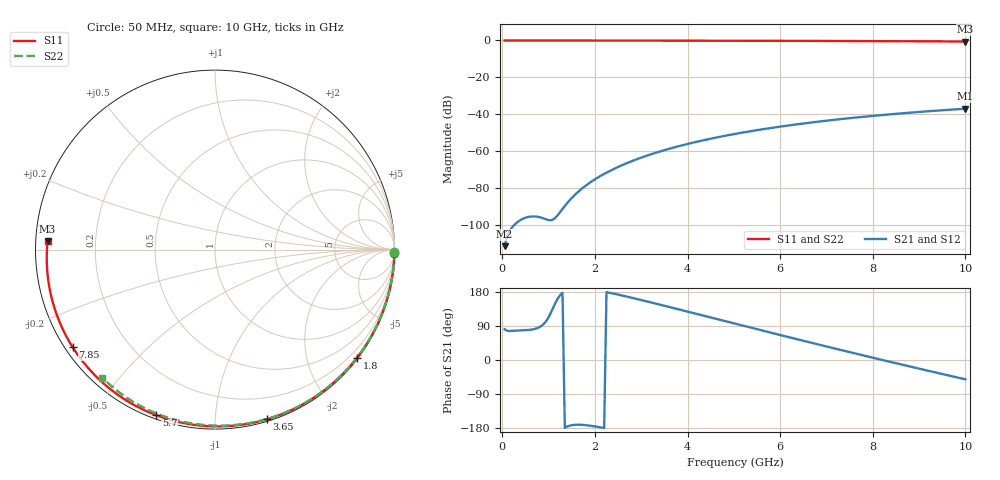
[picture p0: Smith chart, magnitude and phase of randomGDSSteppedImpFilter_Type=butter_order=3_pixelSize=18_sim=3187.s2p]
! freq	dB(S11)	phase(S11)	dB(S12)	phase(S12)
!  dB(S21)	phase(S21)	dB(S22)	phase(S22)
!S-par simulation data
#  GHz  S  DB  R 50
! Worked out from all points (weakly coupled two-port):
!   200 points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, 50 MHz to 10 GHz, reference 50 ohm
!   highest |S21| = -37.03 dB at 10 GHz (marker M1); lowest = -111.6 dB at 50 MHz (marker M2)
!   lowest |S11| = -0.6 dB at 10 GHz (marker M3), VSWR 29.30, Z = 1.71 + j1.26 ohm
!   |S11| at or under -10 dB: nowhere
!   |S22| runs from -0.4 to 0.0 dB; largest |S21 - S12| = 0
!   S11 on the Smith chart (normalised r, x): 50 MHz: open; 1.8 GHz: 0.03, -2.97; 3.65 GHz: 0.02, -1.35; 5.7 GHz: 0.02, -0.71; 7.85 GHz: 0.02, -0.31; 10 GHz: 0.03, +0.03
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0.05  -0.00 -1.1  -111.62 81.3  -111.62 81.3  -0.00 -0.8
0.45  -0.01 -9.5  -96.68 78.2  -96.68 78.2  -0.01 -6.8
0.85  -0.02 -17.8  -96.22 90.5  -96.22 90.5  -0.02 -12.8
1.25  -0.03 -26.0  -93.08 171.1  -93.08 171.1  -0.02 -18.8
1.7  -0.04 -35.2  -80.78 -171.0  -80.78 -171.0  -0.03 -25.5
1.75  -0.05 -36.2  -79.77 -171.4  -79.77 -171.4  -0.03 -26.2
1.8  -0.05 -37.2  -78.80 -171.9  -78.80 -171.9  -0.03 -26.9
2.1  -0.06 -43.2  -73.82 -177.3  -73.82 -177.3  -0.04 -31.3
2.5  -0.07 -51.1  -68.63 172.6  -68.63 172.6  -0.05 -37.1
2.9  -0.08 -58.9  -64.49 161.2  -64.49 161.2  -0.06 -42.8
3.4  -0.09 -68.4  -60.27 146.2  -60.27 146.2  -0.07 -49.9
3.65  -0.10 -73.1  -58.45 138.5  -58.45 138.5  -0.07 -53.3
4.35  -0.12 -85.9  -54.11 116.9  -54.11 116.9  -0.09 -62.9
5.05  -0.15 -98.3  -50.60 95.1  -50.60 95.1  -0.11 -72.2
5.7  -0.18 -109.5  -47.87 75.1  -47.87 75.1  -0.13 -80.6
6.2  -0.21 -118.0  -46.05 59.8  -46.05 59.8  -0.16 -86.9
6.7  -0.25 -126.4  -44.42 44.7  -44.42 44.7  -0.18 -93.0
7.3  -0.29 -136.4  -42.69 26.7  -42.69 26.7  -0.21 -100.3
7.85  -0.34 -145.6  -41.28 10.5  -41.28 10.5  -0.25 -106.8
8.35  -0.39 -154.0  -40.13 -4.1  -40.13 -4.1  -0.29 -112.6
9.2  -0.49 -168.6  -38.41 -28.5  -38.41 -28.5  -0.36 -122.4
10  -0.59 177.1  -37.03 -51.0  -37.03 -51.0  -0.45 -131.4
